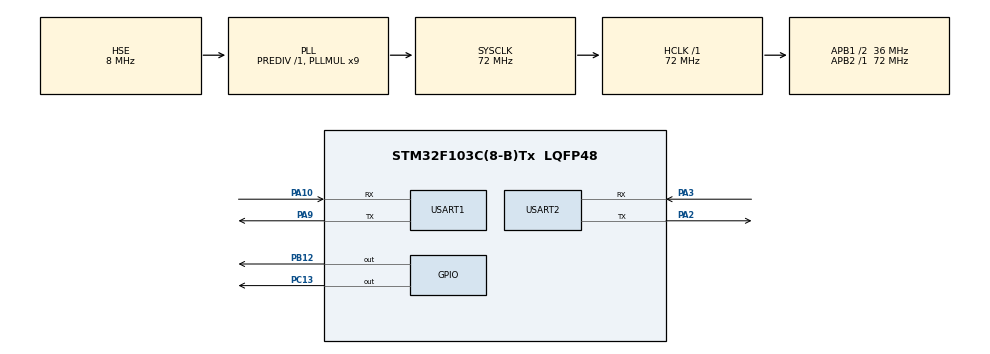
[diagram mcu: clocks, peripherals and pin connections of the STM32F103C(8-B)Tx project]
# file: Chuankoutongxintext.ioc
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FREERTOS.INCLUDE_uxTaskGetStackHighWaterMark=1
FREERTOS.INCLUDE_uxTaskGetStackHighWaterMark2=1
FREERTOS.Tasks01=ModbusTask,0,128,StartModbusTask,Default,NULL,Dynamic,NULL,NULL;TempTask,0,128,StartTempTask,Default,NULL,Dynamic,NULL,NULL;CliTask,-1,192,StartCliTask,Default,NULL,Dynamic,NULL,NULL
FREERTOS.configTOTAL_HEAP_SIZE=6144
Mcu.Family=STM32F1
Mcu.Name=STM32F103C(8-B)Tx
Mcu.Package=LQFP48
NVIC.PriorityGroup=NVIC_PRIORITYGROUP_4
NVIC.TIM3_IRQn=true\:15\:0\:false\:false\:true\:false\:false\:true\:true
NVIC.TimeBase=TIM3_IRQn
NVIC.TimeBaseIP=TIM3
NVIC.USART1_IRQn=true\:5\:0\:false\:false\:true\:true\:true\:true\:true
NVIC.USART2_IRQn=true\:5\:0\:false\:false\:true\:true\:true\:true\:true
PA10.Mode=Asynchronous
PA10.Signal=USART1_RX
PA13.Mode=Serial_Wire
PA13.Signal=SYS_JTMS-SWDIO
PA14.Mode=Serial_Wire
PA14.Signal=SYS_JTCK-SWCLK
PA2.Mode=Asynchronous
PA2.Signal=USART2_TX
PA3.Mode=Asynchronous
PA3.Signal=USART2_RX
PA9.Mode=Asynchronous
PA9.Signal=USART1_TX
PB12.GPIO_ModeDefaultOutputPP=GPIO_MODE_OUTPUT_OD
PB12.GPIO_PuPd=GPIO_NOPULL
PB12.GPIO_Speed=GPIO_SPEED_FREQ_HIGH
PB12.PinState=GPIO_PIN_SET
PB12.Signal=GPIO_Output
PC13-TAMPER-RTC.GPIO_ModeDefaultOutputPP=GPIO_MODE_OUTPUT_OD
PC13-TAMPER-RTC.GPIO_PuPd=GPIO_NOPULL
PC13-TAMPER-RTC.PinState=GPIO_PIN_SET
PC13-TAMPER-RTC.Signal=GPIO_Output
PD0-OSC_IN.Mode=HSE-External-Oscillator
PD0-OSC_IN.Signal=RCC_OSC_IN
PD1-OSC_OUT.Mode=HSE-External-Oscillator
PD1-OSC_OUT.Signal=RCC_OSC_OUT
ProjectManager.HeapSize=0x200
ProjectManager.StackSize=0x400
ProjectManager.TargetToolchain=MDK-ARM V5.32
RCC.AHBFreq_Value=72000000
RCC.APB1CLKDivider=RCC_HCLK_DIV2
RCC.APB1Freq_Value=36000000
RCC.APB1TimFreq_Value=72000000
RCC.APB2Freq_Value=72000000
RCC.APB2TimFreq_Value=72000000
RCC.HCLKFreq_Value=72000000
RCC.PLLMUL=RCC_PLL_MUL9
RCC.PLLSourceVirtual=RCC_PLLSOURCE_HSE
RCC.SYSCLKFreq_VALUE=72000000
RCC.SYSCLKSource=RCC_SYSCLKSOURCE_PLLCLK
RCC.USBFreq_Value=72000000
TIM2.Prescaler=71
USART1.VirtualMode=VM_ASYNC
USART2.VirtualMode=VM_ASYNC
VP_FREERTOS_VS_CMSIS_V1.Mode=CMSIS_V1
VP_SYS_VS_tim3.Mode=TIM3
VP_TIM2_VS_ClockSourceINT.Mode=Internal
board=custom

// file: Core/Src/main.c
/* USER CODE BEGIN Header */
/**
  ******************************************************************************
  * @file           : main.c
  * @brief          : Main program body
  ******************************************************************************
  * @attention
  *
  * Copyright (c) 2026 STMicroelectronics.
  * All rights reserved.
  *
  * This software is licensed under terms that can be found in the LICENSE file
  * in the root directory of this software component.
  * If no LICENSE file comes with this software, it is provided AS-IS.
  *
  ******************************************************************************
  */
/* USER CODE END Header */
#include "main.h"
#include "cmsis_os.h"

/* USER CODE BEGIN Includes */
#include "ringbuf.h"
#include <string.h>
#include "ctype.h"
#include "cmd.h"
#include <stdio.h>
#include "delay.h"
#include "ds18b20.h"
#include "modbus.h"

#include "temp_task.h"
/* USER CODE END Includes */

TIM_HandleTypeDef htim2;

UART_HandleTypeDef huart1;
UART_HandleTypeDef huart2;

osThreadId ModbusTaskHandle;
osThreadId TempTaskHandle;
osThreadId CliTaskHandle;
/* USER CODE BEGIN PV */
RingBuf uart1_rb;
RingBuf uart2_rb;
extern uint8_t rx1_byte;
extern uint8_t rx2_byte;
uint8_t c;
/* USER CODE END PV */

void SystemClock_Config(void);
static void MX_GPIO_Init(void);
static void MX_USART1_UART_Init(void);
static void MX_TIM2_Init(void);
static void MX_USART2_UART_Init(void);
void StartModbusTask(void const * argument);
void StartTempTask(void const * argument);
void StartCliTask(void const * argument);

int main(void)
{

  /* MCU Configuration--------------------------------------------------------*/

  /* Reset of all peripherals, Initializes the Flash interface and the Systick. */
  HAL_Init();

  /* Configure the system clock */
  SystemClock_Config();

  /* Initialize all configured peripherals */
  MX_GPIO_Init();
  MX_USART1_UART_Init();
  MX_TIM2_Init();
  MX_USART2_UART_Init();
  /* USER CODE BEGIN 2 */
  HAL_TIM_Base_Start(&htim2);
  modbus_init();
  rb_init(&uart1_rb);
  HAL_UART_Receive_IT(&huart1,&rx1_byte,1);
  uart_send_str("System Ready (UART1=CLI, UART2=Modbus)\r\n");
#if !MODBUS_TEXT
{
  char buf[48];
  uint32_t t0;
  unsigned long dt;
  int i;
  uart_send_str("v9\r\n");
  t0 = HAL_GetTick();
  for(i =0;i<1000;i++){
    delay_us(1000);
  }
  dt = HAL_GetTick()-t0;
  sprintf(buf,"1000 x 1ms = %lu ms\r\n",dt);
  HAL_UART_Transmit(&huart1,(uint8_t*)buf,strlen(buf),100);
}
#endif
///* ===== 测试结束 ===== */

  /* USER CODE END 2 */

  /* USER CODE BEGIN RTOS_MUTEX */
g_reg_mutex = xSemaphoreCreateMutex();
  /* USER CODE END RTOS_MUTEX */

  /* Create the thread(s) */
  /* definition and creation of ModbusTask */
  osThreadDef(ModbusTask, StartModbusTask, osPriorityNormal, 0, 128);
  ModbusTaskHandle = osThreadCreate(osThread(ModbusTask), NULL);

  /* definition and creation of TempTask */
  osThreadDef(TempTask, StartTempTask, osPriorityNormal, 0, 128);
  TempTaskHandle = osThreadCreate(osThread(TempTask), NULL);

  /* definition and creation of CliTask */
  osThreadDef(CliTask, StartCliTask, osPriorityBelowNormal, 0, 192);
  CliTaskHandle = osThreadCreate(osThread(CliTask), NULL);

  /* Start scheduler */
  osKernelStart();

  /* We should never get here as control is now taken by the scheduler */

  /* Infinite loop */
while (1)
{

    /* USER CODE BEGIN 3 */

// 裸机代码↓
//     uint8_t c;
//     while (rb_read(&uart1_rb, &c) == 0) {
//       cmd_feed_byte(c);
//   }
//     modbus_poll();
//     temp_task();
// }
// 裸机代码↑
}
  /* USER CODE END 3 */
}

void SystemClock_Config(void)
{
  RCC_OscInitTypeDef RCC_OscInitStruct = {0};
  RCC_ClkInitTypeDef RCC_ClkInitStruct = {0};

  /** Initializes the RCC Oscillators according to the specified parameters
  * in the RCC_OscInitTypeDef structure.
  */
  RCC_OscInitStruct.OscillatorType = RCC_OSCILLATORTYPE_HSE;
  RCC_OscInitStruct.HSEState = RCC_HSE_ON;
  RCC_OscInitStruct.HSEPredivValue = RCC_HSE_PREDIV_DIV1;
  RCC_OscInitStruct.HSIState = RCC_HSI_ON;
  RCC_OscInitStruct.PLL.PLLState = RCC_PLL_ON;
  RCC_OscInitStruct.PLL.PLLSource = RCC_PLLSOURCE_HSE;
  RCC_OscInitStruct.PLL.PLLMUL = RCC_PLL_MUL9;
  if (HAL_RCC_OscConfig(&RCC_OscInitStruct) != HAL_OK)
  {
    Error_Handler();
  }

  /** Initializes the CPU, AHB and APB buses clocks
  */
  RCC_ClkInitStruct.ClockType = RCC_CLOCKTYPE_HCLK|RCC_CLOCKTYPE_SYSCLK
                              |RCC_CLOCKTYPE_PCLK1|RCC_CLOCKTYPE_PCLK2;
  RCC_ClkInitStruct.SYSCLKSource = RCC_SYSCLKSOURCE_PLLCLK;
  RCC_ClkInitStruct.AHBCLKDivider = RCC_SYSCLK_DIV1;
  RCC_ClkInitStruct.APB1CLKDivider = RCC_HCLK_DIV2;
  RCC_ClkInitStruct.APB2CLKDivider = RCC_HCLK_DIV1;

  if (HAL_RCC_ClockConfig(&RCC_ClkInitStruct, FLASH_LATENCY_2) != HAL_OK)
  {
    Error_Handler();
  }
}

static void MX_TIM2_Init(void)
{

  TIM_ClockConfigTypeDef sClockSourceConfig = {0};
  TIM_MasterConfigTypeDef sMasterConfig = {0};

  htim2.Instance = TIM2;
  htim2.Init.Prescaler = 71;
  htim2.Init.CounterMode = TIM_COUNTERMODE_UP;
  htim2.Init.Period = 65535;
  htim2.Init.ClockDivision = TIM_CLOCKDIVISION_DIV1;
  htim2.Init.AutoReloadPreload = TIM_AUTORELOAD_PRELOAD_DISABLE;
  if (HAL_TIM_Base_Init(&htim2) != HAL_OK)
  {
    Error_Handler();
  }
  sClockSourceConfig.ClockSource = TIM_CLOCKSOURCE_INTERNAL;
  if (HAL_TIM_ConfigClockSource(&htim2, &sClockSourceConfig) != HAL_OK)
  {
    Error_Handler();
  }
  sMasterConfig.MasterOutputTrigger = TIM_TRGO_RESET;
  sMasterConfig.MasterSlaveMode = TIM_MASTERSLAVEMODE_DISABLE;
  if (HAL_TIMEx_MasterConfigSynchronization(&htim2, &sMasterConfig) != HAL_OK)
  {
    Error_Handler();
  }

}

static void MX_USART1_UART_Init(void)
{

  huart1.Instance = USART1;
  huart1.Init.BaudRate = 115200;
  huart1.Init.WordLength = UART_WORDLENGTH_8B;
  huart1.Init.StopBits = UART_STOPBITS_1;
  huart1.Init.Parity = UART_PARITY_NONE;
  huart1.Init.Mode = UART_MODE_TX_RX;
  huart1.Init.HwFlowCtl = UART_HWCONTROL_NONE;
  huart1.Init.OverSampling = UART_OVERSAMPLING_16;
  if (HAL_UART_Init(&huart1) != HAL_OK)
  {
    Error_Handler();
  }

}

static void MX_USART2_UART_Init(void)
{

  huart2.Instance = USART2;
  huart2.Init.BaudRate = 115200;
  huart2.Init.WordLength = UART_WORDLENGTH_8B;
  huart2.Init.StopBits = UART_STOPBITS_1;
  huart2.Init.Parity = UART_PARITY_NONE;
  huart2.Init.Mode = UART_MODE_TX_RX;
  huart2.Init.HwFlowCtl = UART_HWCONTROL_NONE;
  huart2.Init.OverSampling = UART_OVERSAMPLING_16;
  if (HAL_UART_Init(&huart2) != HAL_OK)
  {
    Error_Handler();
  }

}

static void MX_GPIO_Init(void)
{
  GPIO_InitTypeDef GPIO_InitStruct = {0};

  /* GPIO Ports Clock Enable */
  __HAL_RCC_GPIOC_CLK_ENABLE();
  __HAL_RCC_GPIOD_CLK_ENABLE();
  __HAL_RCC_GPIOA_CLK_ENABLE();
  __HAL_RCC_GPIOB_CLK_ENABLE();

  /*Configure GPIO pin Output Level */
  HAL_GPIO_WritePin(GPIOC, GPIO_PIN_13, GPIO_PIN_SET);

  /*Configure GPIO pin Output Level */
  HAL_GPIO_WritePin(GPIOB, GPIO_PIN_12, GPIO_PIN_SET);

  /*Configure GPIO pin : PC13 */
  GPIO_InitStruct.Pin = GPIO_PIN_13;
  GPIO_InitStruct.Mode = GPIO_MODE_OUTPUT_OD;
  GPIO_InitStruct.Pull = GPIO_NOPULL;
  GPIO_InitStruct.Speed = GPIO_SPEED_FREQ_LOW;
  HAL_GPIO_Init(GPIOC, &GPIO_InitStruct);

  /*Configure GPIO pin : PB12 */
  GPIO_InitStruct.Pin = GPIO_PIN_12;
  GPIO_InitStruct.Mode = GPIO_MODE_OUTPUT_OD;
  GPIO_InitStruct.Pull = GPIO_NOPULL;
  GPIO_InitStruct.Speed = GPIO_SPEED_FREQ_HIGH;
  HAL_GPIO_Init(GPIOB, &GPIO_InitStruct);

}

/* USER CODE BEGIN 4 */

void HAL_UART_RxCpltCallback(UART_HandleTypeDef *huart)
{
    if (huart->Instance == USART1)
    {
        rb_write(&uart1_rb, rx1_byte);
        HAL_UART_Receive_IT(&huart1, &rx1_byte, 1);
    }
    else if (huart->Instance == USART2)
    {
        rb_write(&uart2_rb, rx2_byte);
        HAL_UART_Receive_IT(&huart2, &rx2_byte, 1);
    }
}

void HAL_UART_ErrorCallback(UART_HandleTypeDef *huart)
{
    if (huart->Instance == USART1)
    {
        __HAL_UART_CLEAR_OREFLAG(huart);
        HAL_UART_Receive_IT(&huart1, &rx1_byte, 1);
    }
    else if (huart->Instance == USART2)
    {
        __HAL_UART_CLEAR_OREFLAG(huart);
        HAL_UART_Receive_IT(&huart2, &rx2_byte, 1);
    }
}
/* USER CODE END 4 */

void StartModbusTask(void const * argument)
{
  /* USER CODE BEGIN 5 */
  /* Infinite loop */
  for(;;)
  {
    modbus_poll();
    osDelay(2);   /* 关键：让出 CPU 给低优先级任务 */
  }
  /* USER CODE END 5 */
}

void StartTempTask(void const * argument)
{
  /* USER CODE BEGIN StartTempTask */
  /* Infinite loop */
  for(;;)
  {
    temp_task_rtos_step();
  }
  /* USER CODE END StartTempTask */
}

void StartCliTask(void const * argument)
{
  /* USER CODE BEGIN StartCliTask */
  /* Infinite loop */
  char buf[128];
  for(;;)
  {
    /* 查询三个任务的剩余最小栈空间（单位：Word，乘 4 换算成字节） */
    UBaseType_t wm_mb   = uxTaskGetStackHighWaterMark(ModbusTaskHandle) * 4;
    UBaseType_t wm_temp = uxTaskGetStackHighWaterMark(TempTaskHandle) * 4;
    UBaseType_t wm_cli  = uxTaskGetStackHighWaterMark(CliTaskHandle) * 4;
    size_t free_heap    = xPortGetFreeHeapSize();

    int len = snprintf(buf, sizeof(buf),
                       "[RTOS] T=%d.%02dC ST=%u TH=%d | StackFree(B): MB=%lu TMP=%lu CLI=%lu | HeapFree=%u\r\n",
                       g_temp_x100 / 100, (g_temp_x100 >= 0 ? g_temp_x100 % 100 : -g_temp_x100 % 100),
                       g_dev_status, g_alarm_th_x100,
                       (unsigned long)wm_mb, (unsigned long)wm_temp, (unsigned long)wm_cli,
                       (unsigned int)free_heap);
    HAL_UART_Transmit(&huart1, (uint8_t *)buf, len, 100);

    osDelay(3000);
  }
  /* USER CODE END StartCliTask */
}

void HAL_TIM_PeriodElapsedCallback(TIM_HandleTypeDef *htim)
{
  if (htim->Instance == TIM3)
  {
    HAL_IncTick();
  }
}

void Error_Handler(void)
{
  __disable_irq();
  while (1)
  {
  }
}

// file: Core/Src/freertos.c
/* USER CODE BEGIN Header */
/**
  ******************************************************************************
  * File Name          : freertos.c
  * Description        : Code for freertos applications
  ******************************************************************************
  * @attention
  *
  * Copyright (c) 2026 STMicroelectronics.
  * All rights reserved.
  *
  * This software is licensed under terms that can be found in the LICENSE file
  * in the root directory of this software component.
  * If no LICENSE file comes with this software, it is provided AS-IS.
  *
  ******************************************************************************
  */
/* USER CODE END Header */

#include "FreeRTOS.h"
#include "task.h"
#include "main.h"

/* USER CODE BEGIN Includes */
#include <stdio.h>
#include <string.h>
#include "modbus.h"
#include "temp_task.h"
#include "cmsis_os.h"
/* USER CODE END Includes */

/* USER CODE BEGIN Variables */
SemaphoreHandle_t g_reg_mutex = NULL;
extern UART_HandleTypeDef huart1;
extern osThreadId ModbusTaskHandle;
extern osThreadId TempTaskHandle;
extern osThreadId CliTaskHandle;
/* USER CODE END Variables */

/* GetIdleTaskMemory prototype (linked to static allocation support) */
void vApplicationGetIdleTaskMemory( StaticTask_t **ppxIdleTaskTCBBuffer, StackType_t **ppxIdleTaskStackBuffer, uint32_t *pulIdleTaskStackSize );

/* USER CODE BEGIN GET_IDLE_TASK_MEMORY */
static StaticTask_t xIdleTaskTCBBuffer;
static StackType_t xIdleStack[configMINIMAL_STACK_SIZE];

void vApplicationGetIdleTaskMemory( StaticTask_t **ppxIdleTaskTCBBuffer, StackType_t **ppxIdleTaskStackBuffer, uint32_t *pulIdleTaskStackSize )
{
  *ppxIdleTaskTCBBuffer = &xIdleTaskTCBBuffer;
  *ppxIdleTaskStackBuffer = &xIdleStack[0];
  *pulIdleTaskStackSize = configMINIMAL_STACK_SIZE;
  /* place for user code */
}
/* USER CODE END GET_IDLE_TASK_MEMORY */
